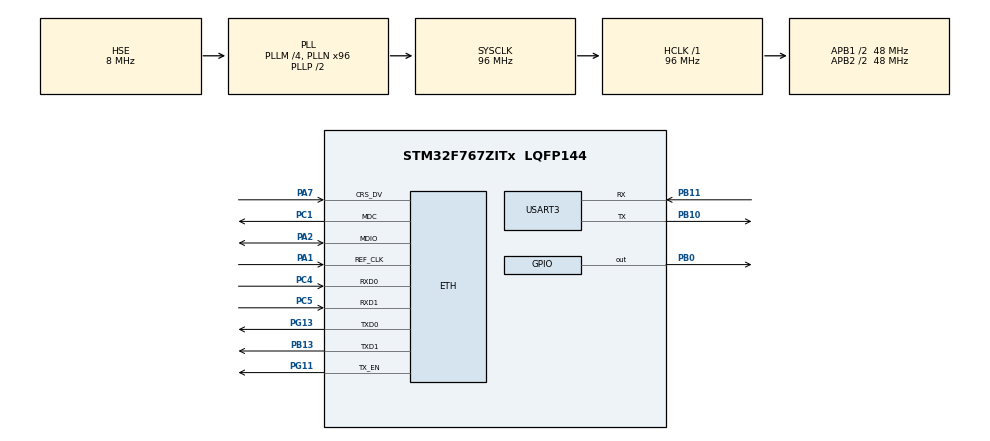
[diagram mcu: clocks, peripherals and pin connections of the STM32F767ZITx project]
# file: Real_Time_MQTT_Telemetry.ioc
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ADC1.Channel-0\#ChannelRegularConversion=ADC_CHANNEL_TEMPSENSOR
ADC1.NbrOfConversion=1
ADC1.NbrOfConversionFlag=1
ADC1.Rank-0\#ChannelRegularConversion=1
ADC1.SamplingTime-0\#ChannelRegularConversion=ADC_SAMPLETIME_3CYCLES
ADC1.master=1
CORTEX_M7.CPU_DCache=Disabled
CORTEX_M7.CPU_ICache=Disabled
CORTEX_M7.TypeExtField_Spec=MPU_TEX_LEVEL0
CORTEX_M7.default_mode_Activation=1
ETH.MediaInterface=HAL_ETH_RMII_MODE
FREERTOS.Tasks01=defaultTask,24,256,StartDefaultTask,Default,NULL,Dynamic,NULL,NULL
FREERTOS.configUSE_NEWLIB_REENTRANT=1
LWIP.BSP.number=1
LWIP.LWIP_DHCP=1
LWIP.Version=v2.1.2_Cube
LWIP0.BSP.STBoard=false
LWIP0.BSP.api=BSP_COMPONENT_DRIVER
LWIP0.BSP.component=LAN8742
LWIP0.BSP.instance=LAN8742
LWIP0.BSP.name=Driver_PHY
LWIP0.BSP.semaphore=S_LAN8742
LWIP0.BSP.solution=LAN8742
Mcu.Family=STM32F7
Mcu.Name=STM32F767ZITx
Mcu.Package=LQFP144
NVIC.ETH_IRQn=true\:5\:0\:false\:false\:true\:true\:false\:true\:true
NVIC.PriorityGroup=NVIC_PRIORITYGROUP_4
NVIC.TIM6_DAC_IRQn=true\:15\:0\:false\:false\:true\:false\:false\:true\:true
NVIC.TimeBase=TIM6_DAC_IRQn
NVIC.TimeBaseIP=TIM6
PA1.Mode=RMII
PA1.Signal=ETH_REF_CLK
PA13.Mode=Serial_Wire
PA13.Signal=SYS_JTMS-SWDIO
PA14.Mode=Serial_Wire
PA14.Signal=SYS_JTCK-SWCLK
PA2.Mode=RMII
PA2.Signal=ETH_MDIO
PA7.Mode=RMII
PA7.Signal=ETH_CRS_DV
PB0.Signal=GPIO_Output
PB10.Mode=Asynchronous
PB10.Signal=USART3_TX
PB11.Mode=Asynchronous
PB11.Signal=USART3_RX
PB13.Mode=RMII
PB13.Signal=ETH_TXD1
PC1.Mode=RMII
PC1.Signal=ETH_MDC
PC4.Mode=RMII
PC4.Signal=ETH_RXD0
PC5.Mode=RMII
PC5.Signal=ETH_RXD1
PG11.Mode=RMII
PG11.Signal=ETH_TX_EN
PG13.Mode=RMII
PG13.Signal=ETH_TXD0
PH0/OSC_IN.Mode=HSE-External-Oscillator
PH0/OSC_IN.Signal=RCC_OSC_IN
PH1/OSC_OUT.Mode=HSE-External-Oscillator
PH1/OSC_OUT.Signal=RCC_OSC_OUT
ProjectManager.HeapSize=0x200
ProjectManager.StackSize=0x400
ProjectManager.TargetToolchain=STM32CubeIDE
RCC.AHBFreq_Value=96000000
RCC.APB1CLKDivider=RCC_HCLK_DIV2
RCC.APB1Freq_Value=48000000
RCC.APB1TimFreq_Value=96000000
RCC.APB2CLKDivider=RCC_HCLK_DIV2
RCC.APB2Freq_Value=48000000
RCC.APB2TimFreq_Value=96000000
RCC.CortexFreq_Value=96000000
RCC.HCLKFreq_Value=96000000
RCC.HSE_VALUE=8000000
RCC.HSI_VALUE=16000000
RCC.LSE_VALUE=32768
RCC.PLLM=4
RCC.PLLN=96
RCC.PLLQ=4
RCC.PLLSourceVirtual=RCC_PLLSOURCE_HSE
RCC.SYSCLKFreq_VALUE=96000000
RCC.SYSCLKSource=RCC_SYSCLKSOURCE_PLLCLK
RCC.USBFreq_Value=48000000
RCC.VCOOutputFreq_Value=192000000
USART3.VirtualMode-Asynchronous=VM_ASYNC
VP_ADC1_TempSens_Input.Mode=IN-TempSens
VP_FREERTOS_VS_CMSIS_V2.Mode=CMSIS_V2
VP_LWIP_VS_Enabled.Mode=Enabled
VP_RNG_VS_RNG.Mode=RNG_Activate
VP_SYS_VS_tim6.Mode=TIM6
board=NUCLEO-F767ZI

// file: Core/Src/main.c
/* USER CODE BEGIN Header */
/**
  ******************************************************************************
  * @file           : main.c
  * @brief          : Main program body
  ******************************************************************************
  * @attention
  *
  * Copyright (c) 2026 STMicroelectronics.
  * All rights reserved.
  *
  * This software is licensed under terms that can be found in the LICENSE file
  * in the root directory of this software component.
  * If no LICENSE file comes with this software, it is provided AS-IS.
  *
  ******************************************************************************
  */
/* USER CODE END Header */
#include "main.h"
#include "cmsis_os.h"
#include "adc.h"
#include "lwip.h"
#include "rng.h"
#include "usart.h"
#include "gpio.h"

void SystemClock_Config(void);
static void MPU_Config(void);
void MX_FREERTOS_Init(void);

int main(void)
{

  /* MPU Configuration--------------------------------------------------------*/
  MPU_Config();

  /* MCU Configuration--------------------------------------------------------*/

  /* Reset of all peripherals, Initializes the Flash interface and the Systick. */
  HAL_Init();

  /* Configure the system clock */
  SystemClock_Config();

  /* Initialize all configured peripherals */
  MX_GPIO_Init();
  MX_RNG_Init();
  MX_USART3_UART_Init();
  MX_ADC1_Init();

  /* Init scheduler */
  osKernelInitialize();  /* Call init function for freertos objects (in cmsis_os2.c) */
  MX_FREERTOS_Init();

  /* Start scheduler */
  osKernelStart();

  /* We should never get here as control is now taken by the scheduler */

  /* Infinite loop */
  while (1)
  {

  }
}

void SystemClock_Config(void)
{
  RCC_OscInitTypeDef RCC_OscInitStruct = {0};
  RCC_ClkInitTypeDef RCC_ClkInitStruct = {0};

  /** Configure the main internal regulator output voltage
  */
  __HAL_RCC_PWR_CLK_ENABLE();
  __HAL_PWR_VOLTAGESCALING_CONFIG(PWR_REGULATOR_VOLTAGE_SCALE3);

  /** Initializes the RCC Oscillators according to the specified parameters
  * in the RCC_OscInitTypeDef structure.
  */
  RCC_OscInitStruct.OscillatorType = RCC_OSCILLATORTYPE_HSE;
  RCC_OscInitStruct.HSEState = RCC_HSE_ON;
  RCC_OscInitStruct.PLL.PLLState = RCC_PLL_ON;
  RCC_OscInitStruct.PLL.PLLSource = RCC_PLLSOURCE_HSE;
  RCC_OscInitStruct.PLL.PLLM = 4;
  RCC_OscInitStruct.PLL.PLLN = 96;
  RCC_OscInitStruct.PLL.PLLP = RCC_PLLP_DIV2;
  RCC_OscInitStruct.PLL.PLLQ = 4;
  RCC_OscInitStruct.PLL.PLLR = 2;
  if (HAL_RCC_OscConfig(&RCC_OscInitStruct) != HAL_OK)
  {
    Error_Handler();
  }

  /** Activate the Over-Drive mode
  */
  if (HAL_PWREx_EnableOverDrive() != HAL_OK)
  {
    Error_Handler();
  }

  /** Initializes the CPU, AHB and APB buses clocks
  */
  RCC_ClkInitStruct.ClockType = RCC_CLOCKTYPE_HCLK|RCC_CLOCKTYPE_SYSCLK
                              |RCC_CLOCKTYPE_PCLK1|RCC_CLOCKTYPE_PCLK2;
  RCC_ClkInitStruct.SYSCLKSource = RCC_SYSCLKSOURCE_PLLCLK;
  RCC_ClkInitStruct.AHBCLKDivider = RCC_SYSCLK_DIV1;
  RCC_ClkInitStruct.APB1CLKDivider = RCC_HCLK_DIV2;
  RCC_ClkInitStruct.APB2CLKDivider = RCC_HCLK_DIV2;

  if (HAL_RCC_ClockConfig(&RCC_ClkInitStruct, FLASH_LATENCY_3) != HAL_OK)
  {
    Error_Handler();
  }
}

 /* MPU Configuration */

void MPU_Config(void)
{
  MPU_Region_InitTypeDef MPU_InitStruct = {0};

  /* Disables the MPU */
  HAL_MPU_Disable();

  /** Initializes and configures the Region and the memory to be protected
  */
  MPU_InitStruct.Enable = MPU_REGION_ENABLE;
  MPU_InitStruct.Number = MPU_REGION_NUMBER0;
  MPU_InitStruct.BaseAddress = 0x0;
  MPU_InitStruct.Size = MPU_REGION_SIZE_4GB;
  MPU_InitStruct.SubRegionDisable = 0x87;
  MPU_InitStruct.TypeExtField = MPU_TEX_LEVEL0;
  MPU_InitStruct.AccessPermission = MPU_REGION_NO_ACCESS;
  MPU_InitStruct.DisableExec = MPU_INSTRUCTION_ACCESS_DISABLE;
  MPU_InitStruct.IsShareable = MPU_ACCESS_SHAREABLE;
  MPU_InitStruct.IsCacheable = MPU_ACCESS_NOT_CACHEABLE;
  MPU_InitStruct.IsBufferable = MPU_ACCESS_NOT_BUFFERABLE;

  HAL_MPU_ConfigRegion(&MPU_InitStruct);
  /* Enables the MPU */
  HAL_MPU_Enable(MPU_PRIVILEGED_DEFAULT);

}

void HAL_TIM_PeriodElapsedCallback(TIM_HandleTypeDef *htim)
{
  if (htim->Instance == TIM6)
  {
    HAL_IncTick();
  }
}

void Error_Handler(void)
{
  __disable_irq();
  while (1)
  {
  }
}

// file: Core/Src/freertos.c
/* USER CODE BEGIN Header */
/**
 ******************************************************************************
 * File Name          : freertos.c
 * Description        : Code for freertos applications
 ******************************************************************************
 * @attention
 *
 * Copyright (c) 2026 STMicroelectronics.
 * All rights reserved.
 *
 * This software is licensed under terms that can be found in the LICENSE file
 * in the root directory of this software component.
 * If no LICENSE file comes with this software, it is provided AS-IS.
 *
 ******************************************************************************
 */
/* USER CODE END Header */

#include "FreeRTOS.h"
#include "task.h"
#include "main.h"
#include "cmsis_os.h"

/* USER CODE BEGIN Includes */
#include "lwip/netif.h"
#include "lwip/tcpip.h"
#include "adc.h"

/* USER CODE END Includes */

/* USER CODE BEGIN Variables */

// Extern the global netif structure generated by CubeMX
extern struct netif gnetif;

/* USER CODE END Variables */
/* Definitions for defaultTask */
osThreadId_t defaultTaskHandle;
const osThreadAttr_t defaultTask_attributes = {
    .name = "defaultTask",
    .stack_size = 256 * 4,
    .priority = (osPriority_t)osPriorityNormal,
};

/* USER CODE BEGIN FunctionPrototypes */
extern void MX_LWIP_Init(void);
extern void MX_LWIP_Process(void);

/* Definitions for myNetworkTask */
osThreadId_t myNetworkTaskHandle;
const osThreadAttr_t myNetworkTask_attributes = {
    .name = "myNetworkTask",
    .stack_size = 256 * 4,
    .priority = (osPriority_t)osPriorityAboveNormal2,
};
/* USER CODE END FunctionPrototypes */

void StartDefaultTask(void *argument);
void StartMyNetworkTask(void *argument);

void MX_FREERTOS_Init(void); /* (MISRA C 2004 rule 8.1) */

void MX_FREERTOS_Init(void)
{

  /* Create the thread(s) */
  /* creation of defaultTask */
  defaultTaskHandle = osThreadNew(StartDefaultTask, NULL, &defaultTask_attributes);

  /* USER CODE BEGIN RTOS_THREADS */
  /* add threads, ... */
  /* creation of myNetworkTask */
  myNetworkTaskHandle = osThreadNew(StartMyNetworkTask, NULL, &myNetworkTask_attributes);
  /* USER CODE END RTOS_THREADS */

}

void StartDefaultTask(void *argument)
{
  /* init code for LWIP */
  MX_LWIP_Init();
  /* USER CODE BEGIN StartDefaultTask */
  /* Infinite loop */
  for (;;)
  {
    /* Process LwIP: handle ethernet packets and link status */
    MX_LWIP_Process();
    osDelay(10);
  }
  /* USER CODE END StartDefaultTask */
}

/* USER CODE BEGIN Application */
/* USER CODE BEGIN Header_StartMyNetworkTask */
/**
 * @brief  Function implementing the myNetworkTask thread.
 * @param  argument: Not used
 * @retval None
 */
/* USER CODE END Header_StartMyNetworkTask */
void StartMyNetworkTask(void *argument)
{
  /* Wait for LwIP to finish its background initialization */
  osDelay(3000);

  while (1)
  {
    /* Debug: Blink LED to show task is running */
    HAL_GPIO_TogglePin(GPIOB, GPIO_PIN_0);
    readTemperature();
    /* 1. Check if the physical cable is plugged in and linked */
    if (netif_is_link_up(&gnetif))
    {
      /* 2. Check if the software interface is fully up and ready */
      if (netif_is_up(&gnetif))
      {
        /* Network is fully operational! Keep LED on solid */
        HAL_GPIO_WritePin(GPIOB, GPIO_PIN_0, GPIO_PIN_SET);
      }
    }

    /* Check every 1 second */
    osDelay(1000);
  }
}

/* USER CODE END Application */
